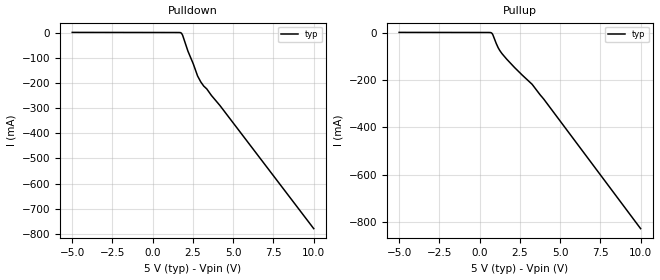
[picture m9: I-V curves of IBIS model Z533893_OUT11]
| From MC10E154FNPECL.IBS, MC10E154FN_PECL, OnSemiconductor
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| (C) COPYRIGHT 1993-2000
| MENTOR GRAPHICS CORPORATION
| ICX STANDARD LIBRARY, ICX PROJECT MODELING,
| ICX CUSTOM MODELING, ICX VENDOR MODEL
| ALL RIGHTS RESERVED.
| THE FOLLOWING ARE TRADEMARKS OR SERVICE MARKS OF
| MENTOR GRAPHICS CORPORATION:ICX (R), ICX STANDARD
| LIBRARY(R), ICX PROJECT MODELING(R), ICX CUSTOM
| MODELING(R), qualityIBIS(TM), MODELVIEWER(TM),
| AND MODELEDITOR(TM)
| ALL COPIES OF SOFTWARE, INCLUDING BUT NOT LIMITED TO
| ANY MODIFICATIONS, ENHANCEMENTS OR DERIVATIVE WORKS,
| MUST CONTAIN ALL MENTOR GRAPHICS CORPORATION'S
| NOTICES AND LEGENDS, INCLUDING THOSE EMBEDDED IN
| SOFTWARE AND THOSE AFFIXED TO SOFTWARE MEDIUM
| AND CONTAINER, AS RECEIVED FROM MENTOR GRAPHICS
| CORPORATION.
| Model Application Version 1.89 2/18/99.
[Model] Z533893_OUT11
Model_type Output_ECL
Vref=3.000V
Rref=50.00ohms
Cref=0.000F
Vmeas=3.700V
C_comp 8.000pF NA NA
| variable typ   min   max
[Voltage Range] 5.000V NA NA
[POWER Clamp Reference] 5.000V NA NA
[Pullup Reference] 5.000V NA NA
[Pulldown Reference] 5.000V NA NA
[GND Clamp Reference] 0.000V NA NA
[GND Clamp]
-5V       0A         NA         NA
10V       0A         NA         NA
[Pulldown]
-5V       553.9uA    NA         NA
1.445V    125.8uA    NA         NA
1.785V    -2.72mA    NA         NA
1.855V    -10.51mA   NA         NA
2.188V    -74.23mA   NA         NA
2.517V    -124.2mA   NA         NA
2.784V    -172.3mA   NA         NA
2.98V     -195.7mA   NA         NA
4.17V     -289.5mA   NA         NA
10V       -778.8mA   NA         NA
[Pullup]
-5V       553.7uA    NA         NA
742mV     -1.684mA   NA         NA
830mV     -10.62mA   NA         NA
1.154V    -64.37mA   NA         NA
1.387V    -88.89mA   NA         NA
2.168V    -147.6mA   NA         NA
3.26V     -218.5mA   NA         NA
3.978V    -280.6mA   NA         NA
10V       -828.3mA   NA         NA
[POWER Clamp]
-5V       0A         NA         NA
10V       0A         NA         NA
[Ramp]
| variable typ min max
dV/dt_r 608.0m/979.7p NA NA
dV/dt_f 608.0m/527.4p NA NA
R_load = 500.0Ohms
